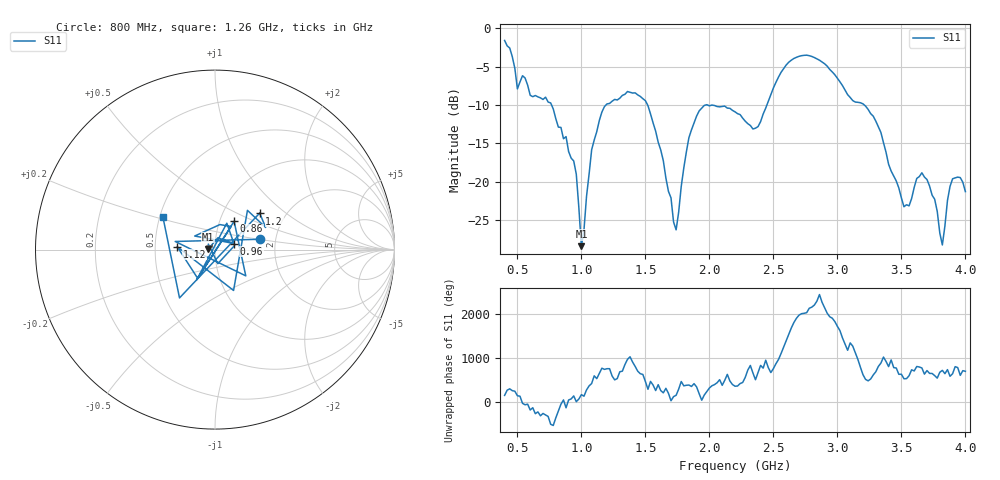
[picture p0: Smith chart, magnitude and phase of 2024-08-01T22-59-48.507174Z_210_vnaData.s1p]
!Created with skrf (http://scikit-rf.org).
# Hz S RI R 50.0
!freq ReS11 ImS11
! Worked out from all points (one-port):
!   181 points, 400 MHz to 4 GHz, reference 50 ohm
!   lowest |S11| = -28.4 dB at 1 GHz (marker M1), VSWR 1.08, Z = 46.4 + j0.333 ohm
!   |S11| at or under -10 dB: 1.517 GHz to 1.976 GHz (458.9 MHz wide, 26.3 % of centre); 1.983 GHz to 2.45 GHz (467.1 MHz wide, 21.1 % of centre); 3.209 GHz to end of sweep (the widest 3 of 4)
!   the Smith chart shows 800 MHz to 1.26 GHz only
!   S11 on the Smith chart (normalised r, x): 800 MHz: 1.65, +0.20; 860 MHz: 1.17, +0.38; 960 MHz: 1.24, +0.08; 1.12 GHz: 0.65, +0.02; 1.2 GHz: 1.49, +0.67; 1.26 GHz: 0.52, +0.21
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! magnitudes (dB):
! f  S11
! 400 MHz  -1.6
! 500 MHz  -7.9
! 540 MHz  -6.2
! 800 MHz  -11.8
! 860 MHz  -14.4
! 960 MHz  -19.0
! 1 GHz  -28.4
! 1.08 GHz  -15.9
! 1.12 GHz  -13.5
! 1.2 GHz  -9.9
! 1.26 GHz  -9.3
! 1.3 GHz  -9.1
! 1.5 GHz  -9.5
! 1.72 GHz  -25.3
! 1.76 GHz  -24.0
! 1.84 GHz  -14.3
! 1.92 GHz  -10.8
! 2.2 GHz  -10.9
! 2.38 GHz  -12.8
! 2.66 GHz  -4.0
! 3.1 GHz  -9.0
! 3.28 GHz  -11.5
! 3.56 GHz  -23.2
! 3.66 GHz  -18.9
! 3.76 GHz  -22.3
! 3.82 GHz  -28.3
! 3.9 GHz  -19.6
! 4 GHz  -21.3
